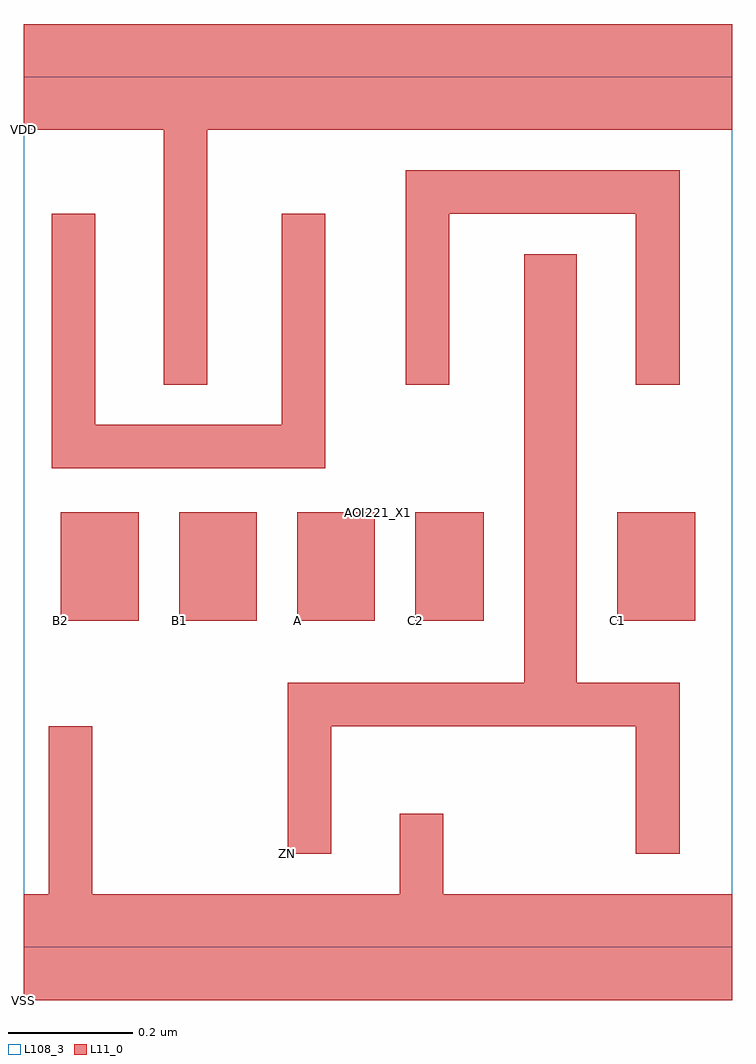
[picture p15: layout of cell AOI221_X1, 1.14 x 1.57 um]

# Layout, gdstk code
import gdstk
lib = gdstk.Library(unit=1e-6, precision=1e-09)
def R(c, l, rs):  # rectangles x0, y0, x1, y1
    for r in rs: c.add(gdstk.rectangle(r[:2], r[2:], *l))
def A(c, l, x, y, w, h, nx, ny, dx, dy):  # array of equal rectangles
    R(c, l, [(x+i*dx, y+j*dy, x+i*dx+w, y+j*dy+h) for i in range(nx) for j in range(ny)])
def P(c, l, *ps):  # polygons
    for p in ps: c.add(gdstk.Polygon(p, *l))
L11_0 = (11, 0)
L108_3 = (108, 3)

aoi221_x1 = lib.new_cell('AOI221_X1')
A(aoi221_x1, L11_0, 0.06, 0.525, 0.125, 0.175, 3, 1, 0.19, 0)
R(aoi221_x1, L11_0, [(0.63,0.525,0.74,0.7), (0.955,0.525,1.08,0.7)])
P(aoi221_x1, L11_0, [(0.425,0.15),(0.495,0.15),(0.495,0.355),(0.985,0.355),(0.985,0.15),(1.055,0.15),(1.055,0.425),(0.89,0.425),(0.89,1.115),(0.805,1.115),(0.805,0.425),(0.425,0.425)],
  [(0,1.315),(0.225,1.315),(0.225,0.905),(0.295,0.905),(0.295,1.315),(0.485,1.315),(1.055,1.315),(1.14,1.315),(1.14,1.485),(1.055,1.485),(0.485,1.485),(0,1.485)],
  [(0,-0.085),(1.14,-0.085),(1.14,0.085),(0.675,0.085),(0.675,0.215),(0.605,0.215),(0.605,0.085),(0.11,0.085),(0.11,0.355),(0.04,0.355),(0.04,0.085),(0,0.085)],
  [(0.045,0.77),(0.485,0.77),(0.485,1.18),(0.415,1.18),(0.415,0.84),(0.115,0.84),(0.115,1.18),(0.045,1.18)],
  [(0.615,0.905),(0.685,0.905),(0.685,1.18),(0.985,1.18),(0.985,0.905),(1.055,0.905),(1.055,1.25),(0.615,1.25)])
R(aoi221_x1, L108_3, [(0,0,1.14,1.4)])
aoi221_x1.add(gdstk.Label('AOI221_X1', (0.57,0.7), layer=108, texttype=3))
aoi221_x1.add(gdstk.Label('A', (0.44,0.525), layer=11, texttype=0))
aoi221_x1.add(gdstk.Label('B1', (0.25,0.525), layer=11, texttype=0))
aoi221_x1.add(gdstk.Label('B2', (0.06,0.525), layer=11, texttype=0))
aoi221_x1.add(gdstk.Label('C1', (0.955,0.525), layer=11, texttype=0))
aoi221_x1.add(gdstk.Label('C2', (0.63,0.525), layer=11, texttype=0))
aoi221_x1.add(gdstk.Label('ZN', (0.425,0.15), layer=11, texttype=0))
aoi221_x1.add(gdstk.Label('VDD', (0,1.315), layer=11, texttype=0))
aoi221_x1.add(gdstk.Label('VSS', (0,-0.085), layer=11, texttype=0))

lib.write_gds('AOI221_X1.gds')
